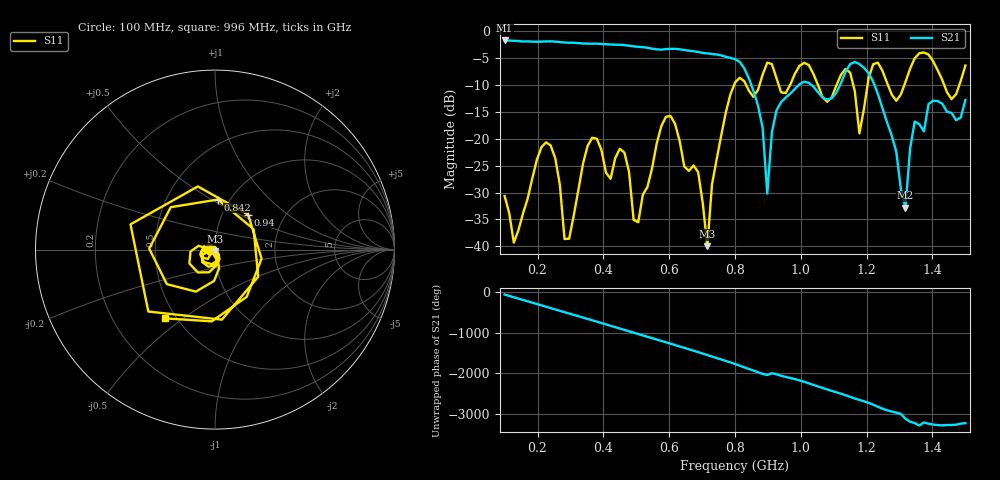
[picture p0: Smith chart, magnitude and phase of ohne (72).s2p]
! NanoVNA-App
! Date: 2025-09-26 09:55:57
! Start: 100MHz Stop: 1,5GHz Points: 101
! S-Parameter data: F S11 S21 S12 S22
# Hz S RI R 50
!  Frequency  S11_Real  S11_Imag  S21_Real  S21_Imag  S12_Real  S12_Imag  S22_Real  S22_Imag
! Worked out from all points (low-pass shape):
!   101 points, 100 MHz to 1.5 GHz, reference 50 ohm
!   highest |S21| = -1.79 dB at 100 MHz (marker M1); lowest = -32.8 dB at 1.318 GHz (marker M2)
!   |S21| within 3 dB of the highest: start of sweep to 771.4 MHz
!   lowest |S11| = -40.0 dB at 716 MHz (marker M3), VSWR 1.02, Z = 49.8 - j0.993 ohm
!   |S11| at or under -10 dB: start of sweep to 797.6 MHz; 833.3 MHz to 874.6 MHz (41.29 MHz wide, 4.83 % of centre); 1.052 GHz to 1.109 GHz (57.15 MHz wide, 5.29 % of centre) (the widest 3 of 7)
!   S12 and S22 are empty: the file has one direction only
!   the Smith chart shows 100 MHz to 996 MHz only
!   S11 on the Smith chart (normalised r, x): 100 MHz: 0.94, -0.01; 842 MHz: 0.88, +0.53; 940 MHz: 1.32, +0.56; 996 MHz: 0.44, -0.43
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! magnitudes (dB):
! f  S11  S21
! 100 MHz  -30.6  -1.8
! 128 MHz  -39.3  -1.9
! 226 MHz  -20.7  -2.0
! 296 MHz  -38.6  -2.2
! 338 MHz  -24.7  -2.4
! 464 MHz  -22.6  -2.6
! 506 MHz  -35.5  -3.0
! 576 MHz  -17.7  -3.5
! 688 MHz  -26.2  -3.9
! 716 MHz  -40.0  -4.2
! 800 MHz  -9.6  -5.3
! 842 MHz  -11.1  -8.8
! 898 MHz  -5.9  -30.2
! 940 MHz  -11.4  -13.2
! 996 MHz  -6.5  -9.9
! 1.038 GHz  -8.0  -10.3
! 1.178 GHz  -19.0  -6.2
! 1.22 GHz  -6.2  -9.5
! 1.276 GHz  -11.8  -19.4
! 1.318 GHz  -9.5  -32.8
! 1.346 GHz  -5.1  -16.8
! 1.5 GHz  -6.4  -12.8
